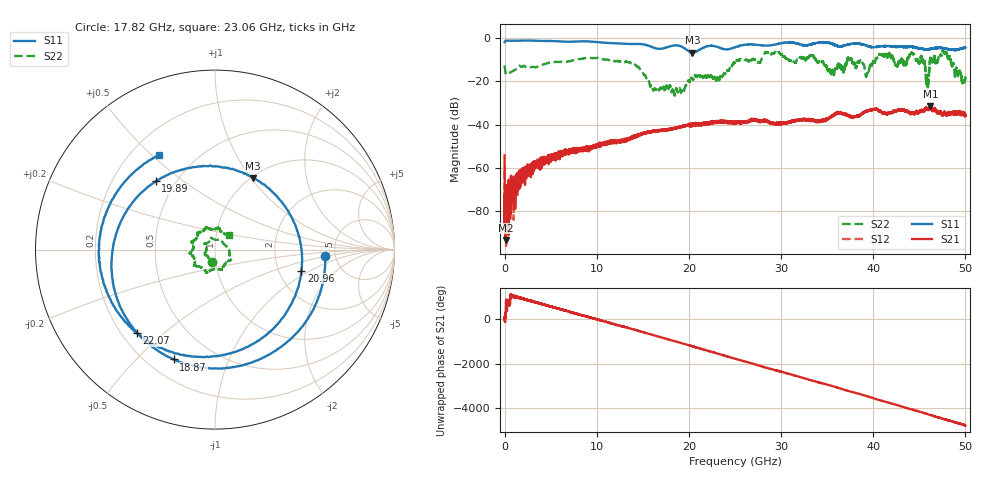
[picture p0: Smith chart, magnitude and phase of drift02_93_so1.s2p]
!Created with skrf (http://scikit-rf.org).
# Hz S RI R 50.0
!freq ReS11 ImS11 ReS21 ImS21 ReS12 ImS12 ReS22 ImS22
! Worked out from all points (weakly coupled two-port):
!   10001 points, 300 kHz to 50 GHz, reference 50 ohm
!   highest |S21| = -31.58 dB at 46.21 GHz (marker M1); lowest = -93.2 dB at 105.3 MHz (marker M2)
!   lowest |S11| = -6.9 dB at 20.38 GHz (marker M3), VSWR 2.65, Z = 50.8 + j51 ohm
!   |S11| at or under -10 dB: nowhere
!   |S22| runs from -26.6 to -6.0 dB; largest |S21 - S12| = 0.0032
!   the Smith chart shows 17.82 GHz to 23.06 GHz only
!   S11 on the Smith chart (normalised r, x): 17.82 GHz: 4.15, -0.47; 18.87 GHz: 0.30, -0.65; 19.89 GHz: 0.39, +0.40; 20.96 GHz: 2.67, -0.82; 22.07 GHz: 0.26, -0.41; 23.06 GHz: 0.31, +0.53
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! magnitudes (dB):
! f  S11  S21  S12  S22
! 300 kHz  -2.1  -54.2  -60.7  -12.8
! 105.3 MHz  -1.5  -93.2  -74.1  -16.4
! 255.3 MHz  -1.4  -74.6  -67.9  -17.0
! 3.065 GHz  -1.4  -57.2  -58.4  -13.5
! 8.335 GHz  -1.7  -51.9  -51.2  -9.7
! 13.71 GHz  -3.0  -46.2  -46.3  -11.7
! 16.67 GHz  -5.2  -42.8  -42.9  -23.8
! 17.82 GHz  -4.2  -42.5  -42.3  -23.2
! 18.87 GHz  -3.7  -41.4  -41.4  -24.1
! 19.89 GHz  -6.0  -40.1  -40.4  -20.2
! 20.38 GHz  -6.9  -40.0  -40.5  -19.0
! 20.96 GHz  -6.1  -39.9  -39.6  -16.9
! 22.07 GHz  -3.9  -39.4  -39.5  -17.5
! 23.06 GHz  -4.3  -38.6  -38.9  -18.8
! 25 GHz  -4.5  -39.1  -39.3  -11.6
! 33.34 GHz  -3.0  -37.9  -37.7  -8.4
! 39.33 GHz  -3.8  -33.7  -33.6  -16.6
! 41.67 GHz  -3.9  -34.3  -34.7  -7.9
! 45.87 GHz  -5.4  -33.1  -33.3  -20.0
! 46.21 GHz  -5.3  -31.6  -31.6  -9.3
! 47.75 GHz  -5.0  -34.7  -34.6  -7.3
! 50 GHz  -4.7  -35.8  -35.7  -18.5
